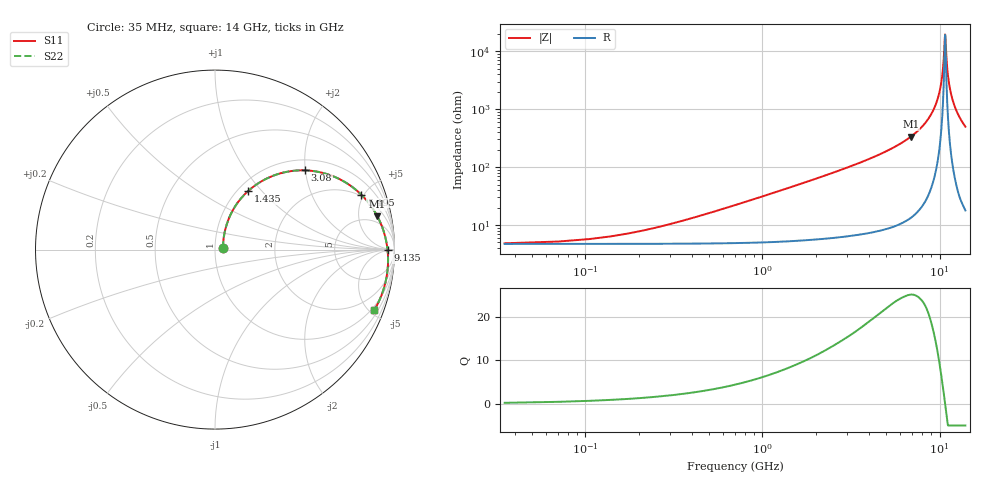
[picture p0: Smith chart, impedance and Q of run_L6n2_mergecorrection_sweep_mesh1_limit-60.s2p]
#  Hz  S  RI  R  50
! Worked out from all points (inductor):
!   400 points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, 35 MHz to 14 GHz, reference 50 ohm
!   read as one part in series: L = 4.87 nH near 490 MHz
!   highest Q = 25.2 at 6.895 GHz (marker M1), where L = 7.76 nH
!   self-resonance near 10.74 GHz
!   S11 on the Smith chart (normalised r, x): 35 MHz: 1.09, +0.02; 1.435 GHz: 1.11, +0.85; 3.08 GHz: 1.25, +1.99; 5.495 GHz: 1.89, +4.79; 9.135 GHz: 51, -5; 14 GHz: 0.78, -5.30
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3.5e7  0.044 0.00906  0.9538 -0.0105  0.9537 -0.0105  0.044 0.00907
3.5e8  0.0525 0.0902  0.9417 -0.1034  0.9417 -0.1033  0.0525 0.0903
5.95e8  0.069 0.1518  0.92 -0.1709  0.92 -0.1709  0.069 0.1518
1.435e9  0.1859 0.3275  0.7935 -0.3529  0.7935 -0.3529  0.1858 0.3274
2.38e9  0.3689 0.4261  0.6078 -0.4611  0.6078 -0.4611  0.3688 0.4261
3.08e9  0.5012 0.4416  0.4744 -0.4834  0.4743 -0.4834  0.5011 0.4416
4.69e9  0.736 0.3689  0.2374 -0.4284  0.2374 -0.4284  0.736 0.3689
5.495e9  0.815 0.306  0.1573 -0.3745  0.1573 -0.3746  0.8149 0.306
6.895e9  0.9047 0.1854  0.0659 -0.2698  0.0659 -0.2698  0.9047 0.1853
7.035e9  0.911 0.1732  0.0594 -0.2592  0.0594 -0.2592  0.9109 0.1731
9.135e9  0.9617 -0.00407  0.00563 -0.1062  0.00563 -0.1062  0.9616 -0.00407
9.345e9  0.9631 -0.0209  0.00386 -0.0919  0.00386 -0.0919  0.9631 -0.0209
9.905e9  0.9643 -0.0647  0.00166 -0.0546  0.00167 -0.0546  0.9643 -0.0647
1.029e10  0.9632 -0.094  0.00219 -0.0298  0.00217 -0.0298  0.9631 -0.094
1.0535e10  0.9616 -0.1123  0.00331 -0.0144  0.00329 -0.0144  0.9616 -0.1123
1.0745e10  0.9599 -0.1277  0.00472 -0.00145  0.00472 -0.00142  0.9598 -0.1277
1.078e10  0.9595 -0.1303  0.00499 0.000689  0.00499 0.000713  0.9595 -0.1303
1.099e10  0.9572 -0.1455  0.00686 0.0134  0.00688 0.0134  0.9572 -0.1455
1.113e10  0.9555 -0.1555  0.00832 0.0217  0.00834 0.0217  0.9555 -0.1555
1.169e10  0.9469 -0.1945  0.0159 0.0542  0.0159 0.0542  0.9468 -0.1945
1.26e10  0.9275 -0.2548  0.0334 0.1035  0.0334 0.1035  0.9275 -0.2547
1.4e10  0.886 -0.3392  0.0715 0.1712  0.0716 0.1712  0.8861 -0.3391
